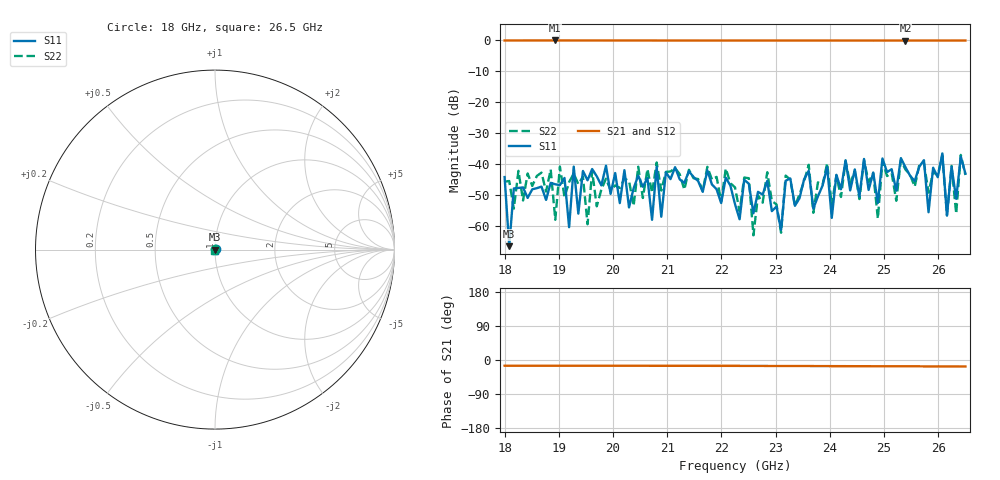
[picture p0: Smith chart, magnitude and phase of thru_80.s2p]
# GHZ S RI R 50.0
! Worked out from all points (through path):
!   101 points, 18 GHz to 26.5 GHz, reference 50 ohm
!   highest |S21| = -0.03 dB at 18.93 GHz (marker M1); lowest = -0.1 dB at 25.39 GHz (marker M2)
!   lowest |S11| = -66.6 dB at 18.09 GHz (marker M3), VSWR 1.00, Z = 50 - j0.0461 ohm
!   |S11| at or under -10 dB: start of sweep to end of sweep
!   |S22| runs from -63.1 to -37.1 dB; largest |S21 - S12| = 0.0041
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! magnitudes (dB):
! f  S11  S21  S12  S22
! 18 GHz  -44.2  0.0  0.0  -45.7
! 18.09 GHz  -66.6  0.0  0.0  -45.5
! 18.17 GHz  -47.9  0.0  0.0  -54.5
! 18.85 GHz  -46.1  0.0  0.0  -41.8
! 18.93 GHz  -46.6  0.0  0.0  -58.1
! 19.19 GHz  -60.5  0.0  0.0  -45.8
! 19.45 GHz  -42.2  0.0  0.0  -44.1
! 19.53 GHz  -45.3  0.0  0.0  -59.5
! 19.61 GHz  -41.6  0.0  0.0  -42.4
! 20.72 GHz  -58.1  0.0  0.0  -49.4
! 20.8 GHz  -40.9  0.0  0.0  -39.5
! 20.89 GHz  -57.1  0.0  0.0  -48.6
! 21.14 GHz  -41.0  0.0  0.0  -41.4
! 22.25 GHz  -53.0  -0.1  0.0  -47.6
! 22.59 GHz  -56.0  -0.1  0.0  -63.1
! 22.84 GHz  -45.5  0.0  0.0  -42.7
! 23.1 GHz  -61.3  0.0  0.0  -62.3
! 23.61 GHz  -42.2  -0.1  0.0  -40.3
! 23.7 GHz  -54.4  -0.1  0.0  -55.8
! 25.14 GHz  -41.7  -0.1  0.0  -42.9
! 25.39 GHz  -41.1  -0.1  0.0  -41.8
! 26.5 GHz  -43.1  -0.1  0.0  -43.6
